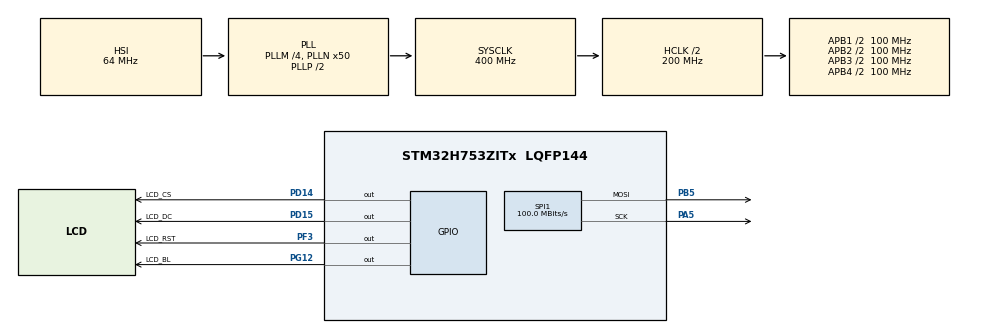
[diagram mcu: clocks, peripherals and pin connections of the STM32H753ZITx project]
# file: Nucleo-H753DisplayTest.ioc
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CORTEX_M7.CPU_DCache=Enabled
CORTEX_M7.CPU_ICache=Enabled
CORTEX_M7.MPU_Control=MPU_PRIVILEGED_DEFAULT
CORTEX_M7.default_mode_Activation=1
Mcu.Family=STM32H7
Mcu.Name=STM32H753ZITx
Mcu.Package=LQFP144
NUCLEO-H753ZI.BUTTON=1
NUCLEO-H753ZI.LD1=true
NUCLEO-H753ZI.LD2=true
NUCLEO-H753ZI.LD3=true
NUCLEO-H753ZI.VCP=true
NVIC.EXTI15_10_IRQn=true\:0\:0\:false\:false\:true\:false\:true\:true
NVIC.PriorityGroup=NVIC_PRIORITYGROUP_4
PA5.GPIO_Speed=GPIO_SPEED_FREQ_VERY_HIGH
PA5.Mode=TX_Only_Simplex_Unidirect_Master
PA5.Signal=SPI1_SCK
PB5.GPIO_Speed=GPIO_SPEED_FREQ_VERY_HIGH
PB5.Mode=TX_Only_Simplex_Unidirect_Master
PB5.Signal=SPI1_MOSI
PC14-OSC32_IN\ (OSC32_IN).Signal=RCC_OSC32_IN
PC15-OSC32_OUT\ (OSC32_OUT).Signal=RCC_OSC32_OUT
PD14.GPIO_Label=LCD_CS
PD14.GPIO_Speed=GPIO_SPEED_FREQ_HIGH
PD14.PinState=GPIO_PIN_SET
PD14.Signal=GPIO_Output
PD15.GPIO_Label=LCD_DC
PD15.GPIO_Speed=GPIO_SPEED_FREQ_HIGH
PD15.Signal=GPIO_Output
PD8.Signal=USART3_TX
PD9.Signal=USART3_RX
PF3.GPIO_Label=LCD_RST
PF3.GPIO_Speed=GPIO_SPEED_FREQ_HIGH
PF3.PinState=GPIO_PIN_SET
PF3.Signal=GPIO_Output
PG12.GPIO_Label=LCD_BL
PG12.Signal=GPIO_Output
PH0-OSC_IN\ (PH0).Signal=RCC_OSC_IN
PH1-OSC_OUT\ (PH1).Signal=RCC_OSC_OUT
ProjectManager.HeapSize=0x200
ProjectManager.StackSize=0x400
ProjectManager.TargetToolchain=CMake
RCC.ADCFreq_Value=200000000
RCC.APB1Freq_Value=100000000
RCC.APB2Freq_Value=100000000
RCC.APB3Freq_Value=100000000
RCC.APB4Freq_Value=100000000
RCC.CortexFreq_Value=400000000
RCC.D1PPRE=RCC_APB3_DIV2
RCC.D2PPRE1=RCC_APB1_DIV2
RCC.D2PPRE2=RCC_APB2_DIV2
RCC.D3PPRE=RCC_APB4_DIV2
RCC.DIVM1=4
RCC.DIVM2=16
RCC.DIVN1=50
RCC.DIVN2=200
RCC.DIVP2=4
RCC.DIVQ1=4
RCC.HCLKFreq_Value=200000000
RCC.HPRE=RCC_HCLK_DIV2
RCC.HSE_VALUE=8000000
RCC.PLL2FRACN=0
RCC.PLL3FRACN=0
RCC.PLLFRACN=0
RCC.PWR_Regulator_Voltage_Scale=PWR_REGULATOR_VOLTAGE_SCALE1
RCC.SPI123CLockSelection=RCC_SPI123CLKSOURCE_PLL2
RCC.SYSCLKFreq_VALUE=400000000
RCC.SYSCLKSource=RCC_SYSCLKSOURCE_PLLCLK
RCC.USBFreq_Value=200000000
SPI1.BaudRatePrescaler=SPI_BAUDRATEPRESCALER_2
SPI1.CalculateBaudRate=100.0 MBits/s
SPI1.DataSize=SPI_DATASIZE_8BIT
SPI1.Direction=SPI_DIRECTION_2LINES_TXONLY
SPI1.MasterKeepIOState=SPI_MASTER_KEEP_IO_STATE_ENABLE
SPI1.Mode=SPI_MODE_MASTER
SPI1.VirtualType=VM_MASTER
VP_MEMORYMAP_VS_MEMORYMAP.Mode=CurAppReg
VP_NUCLEO-H753ZI_VS_BSP_COMMON.Mode=COMMON
board=NUCLEO-H753ZI

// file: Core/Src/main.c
/* USER CODE BEGIN Header */
/**
  ******************************************************************************
  * @file           : main.c
  * @brief          : Main program body
  ******************************************************************************
  * @attention
  *
  * Copyright (c) 2026 STMicroelectronics.
  * All rights reserved.
  *
  * This software is licensed under terms that can be found in the LICENSE file
  * in the root directory of this software component.
  * If no LICENSE file comes with this software, it is provided AS-IS.
  *
  ******************************************************************************
  */
/* USER CODE END Header */
#include "main.h"

/* USER CODE BEGIN Includes */
#include <string.h>
#if defined(LCD_BENCH)
#include "lcd_bench.h"
#elif defined(USE_ST7789_HAL)
#include "hal_demo.h"
#else
#include "st7789.h"
#include "stress_demo.h"
#endif
/* USER CODE END Includes */

COM_InitTypeDef BspCOMInit;

SPI_HandleTypeDef hspi1;

/* USER CODE BEGIN PV */
/* These addresses are the limits of the DMA buffer section in the linker
   script. The startup file does not set this section to 0. */
extern uint8_t _sdma_buffers[], _edma_buffers[];
/* USER CODE END PV */

void SystemClock_Config(void);
static void MPU_Config(void);
static void MX_GPIO_Init(void);
static void MX_SPI1_Init(void);

int main(void)
{

  /* MPU Configuration--------------------------------------------------------*/
  MPU_Config();

  /* Enable the CPU Cache */

  /* Enable I-Cache---------------------------------------------------------*/
  SCB_EnableICache();

  /* Enable D-Cache---------------------------------------------------------*/
  SCB_EnableDCache();

  /* MCU Configuration--------------------------------------------------------*/

  /* Reset of all peripherals, Initializes the Flash interface and the Systick. */
  HAL_Init();

  /* Configure the system clock */
  SystemClock_Config();

  /* USER CODE BEGIN SysInit */
  /* Set the variables in the DMA buffer section to 0: the ST7789_DMA_BUFFER
     variables, or the transmit buffer of the ST7789 HAL library. The
     startup file does the same for the `.bss` section. */
  memset(_sdma_buffers, 0, (size_t)(_edma_buffers - _sdma_buffers));
  /* USER CODE END SysInit */

  /* Initialize all configured peripherals */
  MX_GPIO_Init();
  MX_SPI1_Init();

  /* Initialize leds */
  BSP_LED_Init(LED_GREEN);
  BSP_LED_Init(LED_YELLOW);
  BSP_LED_Init(LED_RED);

  /* Initialize USER push-button, will be used to trigger an interrupt each time it's pressed.*/
  BSP_PB_Init(BUTTON_USER, BUTTON_MODE_EXTI);

  /* Initialize COM1 port (115200, 8 bits (7-bit data + 1 stop bit), no parity */
  BspCOMInit.BaudRate   = 115200;
  BspCOMInit.WordLength = COM_WORDLENGTH_8B;
  BspCOMInit.StopBits   = COM_STOPBITS_1;
  BspCOMInit.Parity     = COM_PARITY_NONE;
  BspCOMInit.HwFlowCtl  = COM_HWCONTROL_NONE;
  if (BSP_COM_Init(COM1, &BspCOMInit) != BSP_ERROR_NONE)
  {
    Error_Handler();
  }

  /* Infinite loop */
  /* USER CODE BEGIN WHILE */
#if defined(LCD_BENCH)
  /* Start the benchmark. LcdBench_Start calls ST7789_Init or
     ST7789HAL_Init. */
  LcdBench_Start();
#elif defined(USE_ST7789_HAL)
  /* Start the test of the ST7789 HAL library. HalDemo_Start calls
     ST7789HAL_Init. */
  HalDemo_Start();
#else
  /* Do a reset of the controller. Then set its configuration. Then start
     the stress test. */
  ST7789_Init();
  StressDemo_Start();
#endif

  while (1)
  {

    /* USER CODE END WHILE */

    /* USER CODE BEGIN 3 */
#if defined(LCD_BENCH)
    LcdBench_Update();
#elif defined(USE_ST7789_HAL)
    HalDemo_Update();
#else
    StressDemo_Update();
#endif
  }
  /* USER CODE END 3 */
}

void SystemClock_Config(void)
{
  RCC_OscInitTypeDef RCC_OscInitStruct = {0};
  RCC_ClkInitTypeDef RCC_ClkInitStruct = {0};

  /** Supply configuration update enable
  */
  HAL_PWREx_ConfigSupply(PWR_LDO_SUPPLY);

  /** Configure the main internal regulator output voltage
  */
  __HAL_PWR_VOLTAGESCALING_CONFIG(PWR_REGULATOR_VOLTAGE_SCALE1);

  while(!__HAL_PWR_GET_FLAG(PWR_FLAG_VOSRDY)) {}

  /** Initializes the RCC Oscillators according to the specified parameters
  * in the RCC_OscInitTypeDef structure.
  */
  RCC_OscInitStruct.OscillatorType = RCC_OSCILLATORTYPE_HSI;
  RCC_OscInitStruct.HSIState = RCC_HSI_DIV1;
  RCC_OscInitStruct.HSICalibrationValue = RCC_HSICALIBRATION_DEFAULT;
  RCC_OscInitStruct.PLL.PLLState = RCC_PLL_ON;
  RCC_OscInitStruct.PLL.PLLSource = RCC_PLLSOURCE_HSI;
  RCC_OscInitStruct.PLL.PLLM = 4;
  RCC_OscInitStruct.PLL.PLLN = 50;
  RCC_OscInitStruct.PLL.PLLP = 2;
  RCC_OscInitStruct.PLL.PLLQ = 4;
  RCC_OscInitStruct.PLL.PLLR = 2;
  RCC_OscInitStruct.PLL.PLLRGE = RCC_PLL1VCIRANGE_3;
  RCC_OscInitStruct.PLL.PLLVCOSEL = RCC_PLL1VCOWIDE;
  RCC_OscInitStruct.PLL.PLLFRACN = 0;
  if (HAL_RCC_OscConfig(&RCC_OscInitStruct) != HAL_OK)
  {
    Error_Handler();
  }

  /** Initializes the CPU, AHB and APB buses clocks
  */
  RCC_ClkInitStruct.ClockType = RCC_CLOCKTYPE_HCLK|RCC_CLOCKTYPE_SYSCLK
                              |RCC_CLOCKTYPE_PCLK1|RCC_CLOCKTYPE_PCLK2
                              |RCC_CLOCKTYPE_D3PCLK1|RCC_CLOCKTYPE_D1PCLK1;
  RCC_ClkInitStruct.SYSCLKSource = RCC_SYSCLKSOURCE_PLLCLK;
  RCC_ClkInitStruct.SYSCLKDivider = RCC_SYSCLK_DIV1;
  RCC_ClkInitStruct.AHBCLKDivider = RCC_HCLK_DIV2;
  RCC_ClkInitStruct.APB3CLKDivider = RCC_APB3_DIV2;
  RCC_ClkInitStruct.APB1CLKDivider = RCC_APB1_DIV2;
  RCC_ClkInitStruct.APB2CLKDivider = RCC_APB2_DIV2;
  RCC_ClkInitStruct.APB4CLKDivider = RCC_APB4_DIV2;

  if (HAL_RCC_ClockConfig(&RCC_ClkInitStruct, FLASH_LATENCY_2) != HAL_OK)
  {
    Error_Handler();
  }
}

static void MX_SPI1_Init(void)
{

  /* SPI1 parameter configuration*/
  hspi1.Instance = SPI1;
  hspi1.Init.Mode = SPI_MODE_MASTER;
  hspi1.Init.Direction = SPI_DIRECTION_2LINES_TXONLY;
  hspi1.Init.DataSize = SPI_DATASIZE_8BIT;
  hspi1.Init.CLKPolarity = SPI_POLARITY_LOW;
  hspi1.Init.CLKPhase = SPI_PHASE_1EDGE;
  hspi1.Init.NSS = SPI_NSS_SOFT;
  hspi1.Init.BaudRatePrescaler = SPI_BAUDRATEPRESCALER_2;
  hspi1.Init.FirstBit = SPI_FIRSTBIT_MSB;
  hspi1.Init.TIMode = SPI_TIMODE_DISABLE;
  hspi1.Init.CRCCalculation = SPI_CRCCALCULATION_DISABLE;
  hspi1.Init.CRCPolynomial = 0x0;
  hspi1.Init.NSSPMode = SPI_NSS_PULSE_ENABLE;
  hspi1.Init.NSSPolarity = SPI_NSS_POLARITY_LOW;
  hspi1.Init.FifoThreshold = SPI_FIFO_THRESHOLD_01DATA;
  hspi1.Init.TxCRCInitializationPattern = SPI_CRC_INITIALIZATION_ALL_ZERO_PATTERN;
  hspi1.Init.RxCRCInitializationPattern = SPI_CRC_INITIALIZATION_ALL_ZERO_PATTERN;
  hspi1.Init.MasterSSIdleness = SPI_MASTER_SS_IDLENESS_00CYCLE;
  hspi1.Init.MasterInterDataIdleness = SPI_MASTER_INTERDATA_IDLENESS_00CYCLE;
  hspi1.Init.MasterReceiverAutoSusp = SPI_MASTER_RX_AUTOSUSP_DISABLE;
  hspi1.Init.MasterKeepIOState = SPI_MASTER_KEEP_IO_STATE_ENABLE;
  hspi1.Init.IOSwap = SPI_IO_SWAP_DISABLE;
  if (HAL_SPI_Init(&hspi1) != HAL_OK)
  {
    Error_Handler();
  }

}

static void MX_GPIO_Init(void)
{
  GPIO_InitTypeDef GPIO_InitStruct = {0};

  /* GPIO Ports Clock Enable */
  __HAL_RCC_GPIOC_CLK_ENABLE();
  __HAL_RCC_GPIOF_CLK_ENABLE();
  __HAL_RCC_GPIOH_CLK_ENABLE();
  __HAL_RCC_GPIOA_CLK_ENABLE();
  __HAL_RCC_GPIOD_CLK_ENABLE();
  __HAL_RCC_GPIOG_CLK_ENABLE();
  __HAL_RCC_GPIOB_CLK_ENABLE();

  /*Configure GPIO pin Output Level */
  HAL_GPIO_WritePin(LCD_RST_GPIO_Port, LCD_RST_Pin, GPIO_PIN_SET);

  /*Configure GPIO pin Output Level */
  HAL_GPIO_WritePin(LCD_CS_GPIO_Port, LCD_CS_Pin, GPIO_PIN_SET);

  /*Configure GPIO pin Output Level */
  HAL_GPIO_WritePin(LCD_DC_GPIO_Port, LCD_DC_Pin, GPIO_PIN_RESET);

  /*Configure GPIO pin Output Level */
  HAL_GPIO_WritePin(LCD_BL_GPIO_Port, LCD_BL_Pin, GPIO_PIN_RESET);

  /*Configure GPIO pin : LCD_RST_Pin */
  GPIO_InitStruct.Pin = LCD_RST_Pin;
  GPIO_InitStruct.Mode = GPIO_MODE_OUTPUT_PP;
  GPIO_InitStruct.Pull = GPIO_NOPULL;
  GPIO_InitStruct.Speed = GPIO_SPEED_FREQ_HIGH;
  HAL_GPIO_Init(LCD_RST_GPIO_Port, &GPIO_InitStruct);

  /*Configure GPIO pins : LCD_CS_Pin LCD_DC_Pin */
  GPIO_InitStruct.Pin = LCD_CS_Pin|LCD_DC_Pin;
  GPIO_InitStruct.Mode = GPIO_MODE_OUTPUT_PP;
  GPIO_InitStruct.Pull = GPIO_NOPULL;
  GPIO_InitStruct.Speed = GPIO_SPEED_FREQ_HIGH;
  HAL_GPIO_Init(GPIOD, &GPIO_InitStruct);

  /*Configure GPIO pin : LCD_BL_Pin */
  GPIO_InitStruct.Pin = LCD_BL_Pin;
  GPIO_InitStruct.Mode = GPIO_MODE_OUTPUT_PP;
  GPIO_InitStruct.Pull = GPIO_NOPULL;
  GPIO_InitStruct.Speed = GPIO_SPEED_FREQ_LOW;
  HAL_GPIO_Init(LCD_BL_GPIO_Port, &GPIO_InitStruct);

}

 /* MPU Configuration */

void MPU_Config(void)
{
  MPU_Region_InitTypeDef MPU_InitStruct = {0};

  /* Disables the MPU */
  HAL_MPU_Disable();

  /** Initializes and configures the Region and the memory to be protected
  */
  MPU_InitStruct.Enable = MPU_REGION_ENABLE;
  MPU_InitStruct.Number = MPU_REGION_NUMBER0;
  MPU_InitStruct.BaseAddress = 0x0;
  MPU_InitStruct.Size = MPU_REGION_SIZE_4GB;
  MPU_InitStruct.SubRegionDisable = 0x87;
  MPU_InitStruct.TypeExtField = MPU_TEX_LEVEL0;
  MPU_InitStruct.AccessPermission = MPU_REGION_NO_ACCESS;
  MPU_InitStruct.DisableExec = MPU_INSTRUCTION_ACCESS_DISABLE;
  MPU_InitStruct.IsShareable = MPU_ACCESS_SHAREABLE;
  MPU_InitStruct.IsCacheable = MPU_ACCESS_NOT_CACHEABLE;
  MPU_InitStruct.IsBufferable = MPU_ACCESS_NOT_BUFFERABLE;

  HAL_MPU_ConfigRegion(&MPU_InitStruct);
  /* Enables the MPU */
  HAL_MPU_Enable(MPU_PRIVILEGED_DEFAULT);

}

void Error_Handler(void)
{
  __disable_irq();
  while (1)
  {
  }
}
